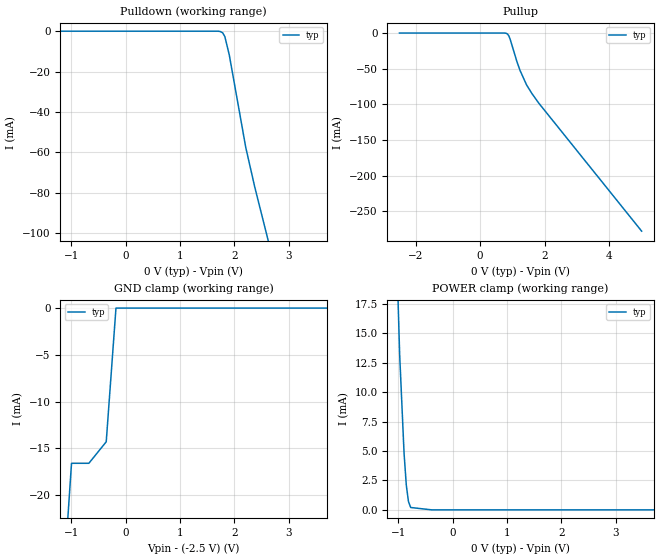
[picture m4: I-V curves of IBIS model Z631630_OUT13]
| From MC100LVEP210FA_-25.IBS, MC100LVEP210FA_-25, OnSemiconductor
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| (C) COPYRIGHT 1993-2000
| MENTOR GRAPHICS CORPORATION
| ICX STANDARD LIBRARY, ICX PROJECT MODELING,
| ICX CUSTOM MODELING, ICX VENDOR MODEL
| ALL RIGHTS RESERVED.
| THE FOLLOWING ARE TRADEMARKS OR SERVICE MARKS OF
| MENTOR GRAPHICS CORPORATION:ICX (R), ICX STANDARD
| LIBRARY(R), ICX PROJECT MODELING(R), ICX CUSTOM
| MODELING(R), qualityIBIS(TM), MODELVIEWER(TM),
| AND MODELEDITOR(TM)
| ALL COPIES OF SOFTWARE, INCLUDING BUT NOT LIMITED TO
| ANY MODIFICATIONS, ENHANCEMENTS OR DERIVATIVE WORKS,
| MUST CONTAIN ALL MENTOR GRAPHICS CORPORATION'S
| NOTICES AND LEGENDS, INCLUDING THOSE EMBEDDED IN
| SOFTWARE AND THOSE AFFIXED TO SOFTWARE MEDIUM
| AND CONTAINER, AS RECEIVED FROM MENTOR GRAPHICS
| CORPORATION.
| Model Application Version 1.89 2/18/99.
[Model] Z631630_OUT13
Model_type Output_ECL
Vref=-2.000V
Rref=50.00ohms
Cref=0.000F
Vmeas=-1.400V
C_comp 1.000pF NA NA
| variable typ   min   max
[Voltage Range] -2.500V NA NA
[POWER Clamp Reference] 0.000V NA NA
[Pullup Reference] 0.000V NA NA
[Pulldown Reference] 0.000V NA NA
[GND Clamp Reference] -2.500V NA NA
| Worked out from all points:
|   GND clamp passes 1 mA (typ) near -0.19 V on its own axis
|   POWER clamp passes 1 mA (typ) near -0.82 V on its own axis
[GND Clamp]
-2.5V     -146.8mA   NA         NA
-996.5mV  -16.6mA    NA         NA
-677.3mV  -16.6mA    NA         NA
-358mV    -14.3mA    NA         NA
-179mV    0A         NA         NA
5V        0A         NA         NA
[Pulldown]
-2.5V     0A         NA         NA
1.703V    0A         NA         NA
1.743V    -200uA     NA         NA
1.784V    -800uA     NA         NA
1.824V    -2.7mA     NA         NA
1.906V    -11.9mA    NA         NA
2.209V    -57.7mA    NA         NA
2.371V    -76.9mA    NA         NA
5V        -359.2mA   NA         NA
[Pullup]
-2.5V     0A         NA         NA
750mV     0A         NA         NA
851mV     -1.6mA     NA         NA
892mV     -4.4mA     NA         NA
932mV     -9.2mA     NA         NA
1.135V    -39.7mA    NA         NA
1.236V    -52.7mA    NA         NA
1.439V    -73mA      NA         NA
1.601V    -84.8mA    NA         NA
1.804V    -97.8mA    NA         NA
5V        -278.1mA   NA         NA
[POWER Clamp]
-2.5V     250.8mA    NA         NA
-973mV    13.2mA     NA         NA
-892mV    4.8mA      NA         NA
-851mV    2.1mA      NA         NA
-811mV    700uA      NA         NA
-770mV    200uA      NA         NA
-385mV    0A         NA         NA
5V        0A         NA         NA
[Ramp]
| variable typ min max
dV/dt_r 496.1m/138.2p NA NA
dV/dt_f 496.1m/140.5p NA NA
R_load = 50.00Ohms
